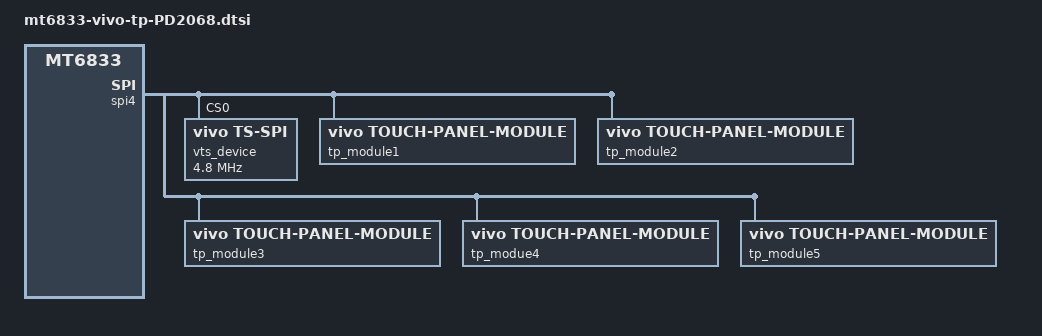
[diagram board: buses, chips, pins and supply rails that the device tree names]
&pio {
	pd2068_tp_spi_mode: clk_mode_default {
		pins_cmd_dat {
			pinmux = <PINMUX_GPIO97__FUNC_SPI4_CLK>;
			drive-strength = <0>;
		};
	};

	pd2068_tp_spi_mosi_mode: mosi_mode_default {
		pins_cmd_dat {
			pinmux = <PINMUX_GPIO13__FUNC_SPI4_MO>;
			drive-strength = <0>;
		};
	};

};


&spi4 {
	status = "okay";
	vts_device@0 {
		compatible = "vivo,ts-spi";
		status = "okay";
		reg=<0>;
		spi-max-frequency = <4800000>;

		pinctrl-names = "default";
		pinctrl-0 = <&pd2068_tp_spi_mode &pd2068_tp_spi_mosi_mode>;

		nt36672 {
			compatible = "novatek,NVT-ts-spi-v2";
			status = "ok";

			vts-type=<0>;
			vts-ic-number=<81>;
			spi-max-frequency = <9600000>;	//4800000,9600000,15000000,19200000
			novatek,reset-gpio = <&pio 186 0x00>;
			novatek,irq-gpio = <&pio 14 0x2001>;
			novatek,cs-gpio = <&pio 98 0x00>;
			novatek,miso-gpio = <&pio 12 0x00>;
			sensor-test-key="com.nttouchscreen.mptest:MainActivity:android.intent.action.novatek:0:testResult";
			lcm-noise-test-key="com.nt36xxxtouchscreen.deltadiff:MainActivity:null:null:null";
			rawdata-test-key="com.nttouchscreen.getdata:MainActivity:null:null:null";
			rf-noise-test-key="com.nt36xxxtouchscreen.deltadiff:BspTest:android.intent.action.nvtdeltadiff:0:testResult";
			
			novatek,swrst-n8-addr = <0x03F0FE>;

			//vts-incell-panel = <&dsi_nt36675_tm_fhdplus_video &dsi_ft8756_truly_fhdplus_video &dsi_nt36672c_tm657_dsc_fhdplus_video>;

		};
		
		ili_9882n {
			status = "okay";
			compatible = "tchip,ilitek";
			vts-type=<0>;
			vts-ic-number=<91>;
			spi-max-frequency = <9600000>;
			touch,reset-gpio = <&pio 186 0x00>;
			touch,irq-gpio = <&pio 14 0x2001>;

			sensor-test-key="com.ilitek.touchscreen.tptest3X:MP3XActivity:com.ilitek.touchscreen.action.tptest:0:ILITEK_TpTestResult";
			lcm-noise-test-key="com.ilitek.touchscreen.noisev2:MainActivity:null:null:null"; 
			rawdata-test-key="com.ilitek.touchscreen.noisev2:DataShowActivity:null:null:null";
			rf-noise-test-key="com.ilitek.touchscreen.noisev2:BspTestActivity:com.ilitek.touchscreen.action.noisetest:0:ILITEK_TpTestResult";
			//vts-incell-panel=<&dsi_pd2034_tm_ili9882n_hdplus_video &dsi_pd2034_inx_ili9882n_hdplus_video>;
		};
		
		ft8016 {
			compatible = "focaltech,ft8756_v2";
			vts-type=<0>;
			vts-ic-number=<37>;
			spi-max-frequency = <8000000>;	//4800000,9600000,15000000,19200000
			focaltech,reset-gpio = <&pio 186 0x00>;
			focaltech,irq-gpio = <&pio 14 0x2001>;
			focaltech,max-touch-number = <10>;
			focaltech,display-coords = <0 0 720 1600>;
			focaltech,ic_name = "ft8016";
			sensor-test-key="com.focaltouchscreen.sensortest:MainActivity:com.focaltouchscreen.sensortest:0:focal_test_result";
			lcm-noise-test-key="com.focaltech.deltadiff:MainActivity:null:null:null";
			rawdata-test-key="com.focaltech.deltadiff:DataActivity:null:null:null";
			rf-noise-test-key="com.focaltech.deltadiff:BspTestActivity:com.focaltech.deltadiff:0:testResult";
			//vts-incell-panel=<&dsi_pd2034_auo_ft8016_hdplus_video>;
			
		};

		ft8656 {
			compatible = "focaltech,ft8756_v2";
			vts-type=<0>;
			vts-ic-number=<39>;
			spi-max-frequency = <6000000>;	//4800000,9600000,15000000,19200000
			focaltech,reset-gpio = <&pio 186 0x00>;
			focaltech,irq-gpio = <&pio 14 0x02>;
			focaltech,max-touch-number = <10>;
			focaltech,display-coords = <0 0 720 1600>;
			//focaltech,ic_name = "ft8016";//DEFAULT 8756
			sensor-test-key="com.focaltouchscreen.sensortest:MainActivity:com.focaltouchscreen.sensortest:0:focal_test_result";
			lcm-noise-test-key="com.focaltech.deltadiff:MainActivity:null:null:null";
			rawdata-test-key="com.focaltech.deltadiff:DataActivity:null:null:null";
			rf-noise-test-key="com.focaltech.deltadiff:BspTestActivity:com.focaltech.deltadiff:0:testResult";
			//vts-incell-panel=<&dsi_pd2034_auo_ft8016_hdplus_video>;
			
		};
	};

	tp_module1 {
		compatible = "vivo,touch-panel-module";
		vts-ic-number=<81>;
		vts-type=<0>;
		vts-lcmid=<48>;
		vts-dimention-x=<720>;
		vts-dimention-y=<1600>;
		vts-tx-sensors=<16>;
		vts-rx-sensors=<36>;
		vts-incell=<1>;
		vts-need-caliberation=<0>;
		vts-virtual-proximinity=<0>;
		vts-long-press=<0>;
		vts-module-vendor=<0xF0>;
		vts-no-flash=<1>;
		vts-game-mode=<1>;
		vts-game-idle-time=<10>;
		vts-report-timestamp=<1>;
	};
	
	tp_module2 {
		compatible = "vivo,touch-panel-module";
		vts-ic-number=<91>;
		vts-type=<0>;
		vts-lcmid=<96>;//0x40  INT ILI 9882N 
		vts-dimention-x=<720>;
		vts-dimention-y=<1600>;
		vts-tx-sensors=<18>;
		vts-rx-sensors=<32>;
		vts-incell=<1>;
 		vts-need-caliberation=<0>;
 		vts-virtual-proximinity=<0>;
 		vts-long-press=<0>;
		vts-module-vendor=<0xF0>;
		vts-no-flash=<1>;
		vts-gesture=<0>;
	};
	
	tp_module3 {
		compatible = "vivo,touch-panel-module";
		vts-ic-number=<37>;
		vts-type=<0>;
		vts-lcmid=<64>;//0x40   8016
		vts-dimention-x=<720>;
		vts-dimention-y=<1600>;
		vts-tx-sensors=<18>;
		vts-rx-sensors=<32>;
		vts-incell=<1>;
 		vts-need-caliberation=<0>;
 		vts-virtual-proximinity=<0>;
 		vts-long-press=<0>;
		vts-module-vendor=<0xF0>;
		vts-no-flash=<1>;
		vts-gesture=<0>;
	};

	tp_modue4{
		compatible = "vivo,touch-panel-module";
		vts-ic-number=<39>;
		vts-type=<0>;
		vts-lcmid=<128>;//FT8656 0X81
		vts-dimention-x=<720>;
		vts-dimention-y=<1600>;
		vts-tx-sensors=<18>;
		vts-rx-sensors=<32>;
		vts-incell=<1>;
		vts-need-caliberation=<0>;
		vts-virtual-proximinity=<0>;
		vts-long-press=<0>;
		vts-module-vendor=<0xF0>;
		vts-no-flash=<1>;
		vts-game-mode=<1>;
		vts-gesture=<1>;
		vts-game-idle-time=<10>;
	};
	
	tp_module5 {
		compatible = "vivo,touch-panel-module";
		vts-ic-number=<81>;
		vts-type=<0>;
		vts-lcmid=<144>;
		vts-dimention-x=<720>;
		vts-dimention-y=<1600>;
		vts-tx-sensors=<16>;
		vts-rx-sensors=<36>;
		vts-incell=<1>;
		vts-need-caliberation=<0>;
		vts-virtual-proximinity=<0>;
		vts-long-press=<0>;
		vts-module-vendor=<0xF0>;
		vts-no-flash=<1>;
		vts-game-mode=<1>;
		vts-game-idle-time=<10>;
		vts-report-timestamp=<1>;
	};
};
